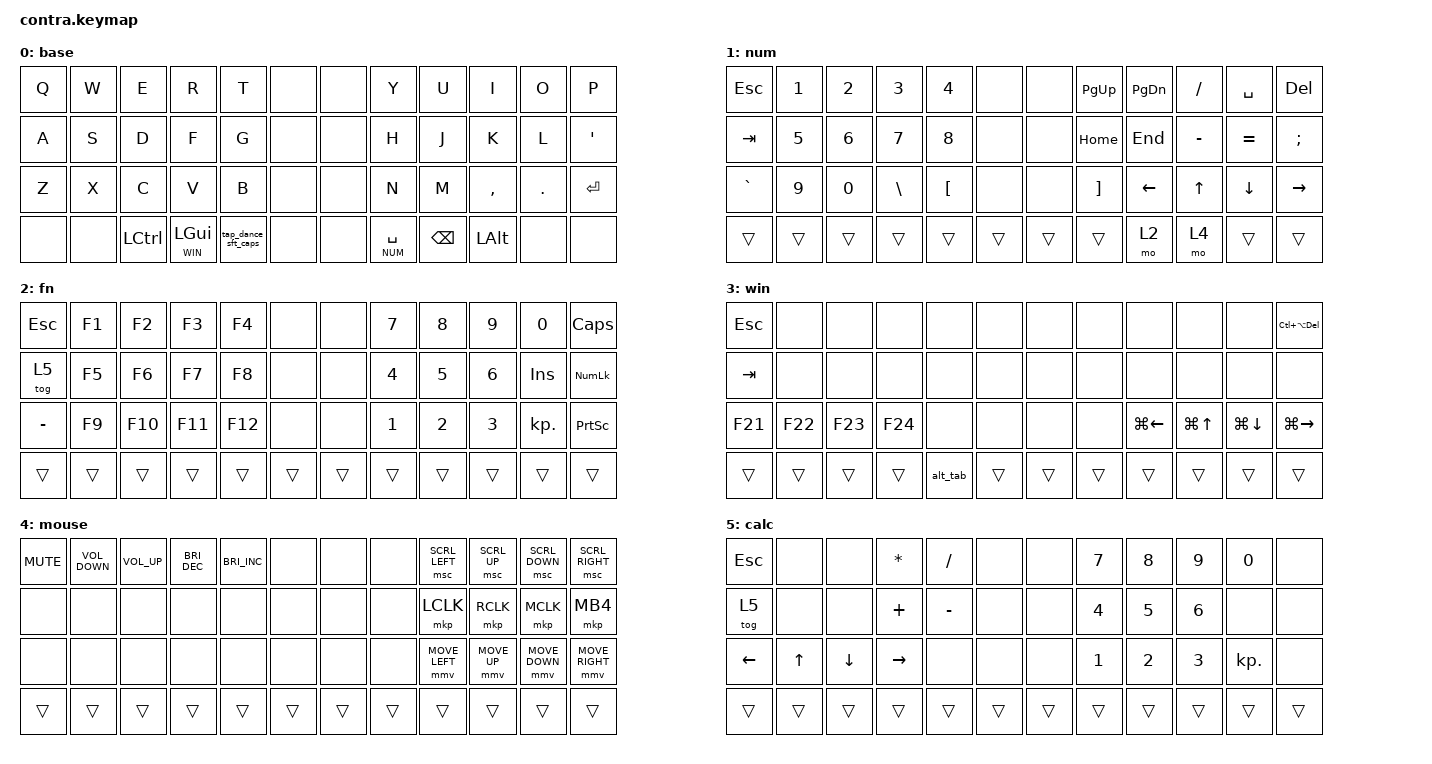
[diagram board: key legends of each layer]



/*
 * Copyright (c) 2021 The ZMK Contributors
 *
 * SPDX-License-Identifier: MIT
 */

#include <behaviors.dtsi>
#include <dt-bindings/zmk/keys.h>
#include <dt-bindings/zmk/pointing.h>
#include <dt-bindings/zmk/bt.h>
#include <dt-bindings/zmk/outputs.h>

#define BASE  0
#define NUM   1
#define FN    2
#define WIN   3
#define MOUSE 4
#define CALC  5

/ {
    macros {
        alt_tab: alt_tab {
            compatible = "zmk,behavior-macro";
            label = "ALT_TAB";
            #binding-cells = <0>;
            bindings = <&sk LEFT_ALT &kp TAB>;
        };
    };

    behaviors {
        tap_dance_sft_caps: tap_dance_sft_caps {
            compatible = "zmk,behavior-tap-dance";
            #binding-cells = <0>;
            tapping-term-ms = <200>;
            bindings = <&kp LSFT>, <&kp CAPS>;
        };
    };

    keymap {
        compatible = "zmk,keymap";

        base {
            bindings = <
                &kp Q   &kp W   &kp E       &kp R              &kp T               &none       &none       &kp Y           &kp U           &kp I          &kp O     &kp P
                &kp A   &kp S   &kp D       &kp F              &kp G               &none       &none       &kp H           &kp J           &kp K          &kp L     &kp SQT
                &kp Z   &kp X   &kp C       &kp V              &kp B               &none       &none       &kp N           &kp M           &kp COMMA      &kp DOT   &kp RET
                &none   &none   &kp LCTRL   &lt WIN LEFT_GUI   &tap_dance_sft_caps &none       &none       &lt NUM SPACE   &kp BACKSPACE   &kp LEFT_ALT   &none     &none
            >;
        };

        num {
            bindings = <
                &kp ESCAPE   &kp N1   &kp N2   &kp N3     &kp N4     &none    &none    &kp PAGE_UP   &kp PAGE_DOWN   &kp SLASH   &kp SPC     &kp DEL
                &kp TAB      &kp N5   &kp N6   &kp N7     &kp N8     &none    &none    &kp HOME      &kp END         &kp MINUS   &kp EQUAL   &kp SEMI
                &kp GRAVE    &kp N9   &kp N0   &kp BSLH   &kp LBKT   &none    &none    &kp RBKT      &kp LEFT        &kp UP      &kp DOWN    &kp RIGHT
                &trans       &trans   &trans   &trans     &trans     &trans   &trans   &trans        &mo 2           &mo 4       &trans      &trans
            >;
        };

        fn {
            bindings = <
                &kp ESC     &kp F1   &kp F2    &kp F3    &kp F4    &none    &none    &kp N7   &kp N8   &kp N9   &kp N0       &kp CAPS
                &tog 5      &kp F5   &kp F6    &kp F7    &kp F8    &none    &none    &kp N4   &kp N5   &kp N6   &kp INS      &kp KP_NUMLOCK
                &kp MINUS   &kp F9   &kp F10   &kp F11   &kp F12   &none    &none    &kp N1   &kp N2   &kp N3   &kp KP_DOT   &kp PRINTSCREEN
                &trans      &trans   &trans    &trans    &trans    &trans   &trans   &trans   &trans   &trans   &trans       &trans
            >;
        };

        win {
            bindings = <
                &kp ESC   &none     &none     &none     &none      &none    &none    &none    &none          &none              &none                &kp LC(LA(DELETE))
                &kp TAB   &none     &none     &none     &none      &none    &none    &none    &none          &none              &none                &none
                &kp F21   &kp F22   &kp F23   &kp F24   &none      &none    &none    &none    &kp LG(LEFT)   &kp LG(UP_ARROW)   &kp LG(DOWN_ARROW)   &kp LG(RIGHT)
                &trans    &trans    &trans    &trans    &alt_tab   &trans   &trans   &trans   &trans         &trans             &trans               &trans
            >;
        };

        mouse {
            bindings = <
                &kp C_MUTE   &kp C_VOLUME_DOWN   &kp C_VOLUME_UP   &kp C_BRIGHTNESS_DEC   &kp C_BRIGHTNESS_INC   &none    &none    &none    &msc SCRL_LEFT   &msc SCRL_UP   &msc SCRL_DOWN   &msc SCRL_RIGHT
                &none        &none               &none             &none                  &none                  &none    &none    &none    &mkp LCLK        &mkp RCLK      &mkp MCLK        &mkp MB4
                &none        &none               &none             &none                  &none                  &none    &none    &none    &mmv MOVE_LEFT   &mmv MOVE_UP   &mmv MOVE_DOWN   &mmv MOVE_RIGHT
                &trans       &trans              &trans            &trans                 &trans                 &trans   &trans   &trans   &trans           &trans         &trans           &trans
            >;
        };

        calc {
            bindings = <
                &kp ESCAPE   &none    &none      &kp ASTERISK   &kp FSLH    &none    &none    &kp N7   &kp N8   &kp N9   &kp N0       &none
                &tog 5       &none    &none      &kp PLUS       &kp MINUS   &none    &none    &kp N4   &kp N5   &kp N6   &none        &none
                &kp LEFT     &kp UP   &kp DOWN   &kp RIGHT      &none       &none    &none    &kp N1   &kp N2   &kp N3   &kp KP_DOT   &none
                &trans       &trans   &trans     &trans         &trans      &trans   &trans   &trans   &trans   &trans   &trans       &trans
            >;
        };
    };
};
